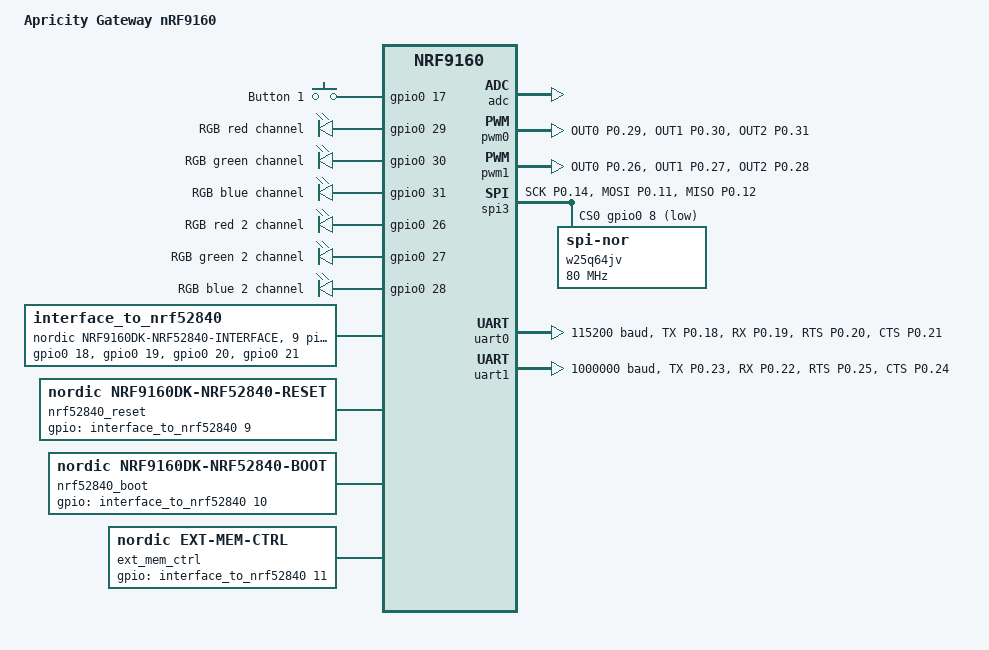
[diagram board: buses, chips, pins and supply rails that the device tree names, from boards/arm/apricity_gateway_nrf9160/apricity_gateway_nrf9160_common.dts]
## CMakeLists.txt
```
#
# Copyright (c) 2018 Nordic Semiconductor
#
# SPDX-License-Identifier: LicenseRef-Nordic-5-Clause
#

cmake_minimum_required(VERSION 3.13.1)

set(BOARD_ROOT ${CMAKE_CURRENT_LIST_DIR})

set(HW_VERSION_MAJOR "3")
set(HW_VERSION_MINOR "0")
set(FW_VERSION_MAJOR "1")
set(FW_VERSION_MINOR "6.0")

set(spm_CONF_FILE
    prj.conf
    ${CMAKE_CURRENT_SOURCE_DIR}/${BOARD}_spm.conf)

# enable ability to perform FOTA from NCS 1.2.0 gw to newer
# e.g., west build -p auto -b apricity_gateway_nrf9160ns -d build_dbg -- -DFOTA_OLD_GW=y
if(FOTA_OLD_GW)
				set(HW_VERSION_MAJOR "2")
				set(HW_VERSION_MINOR "0")
				set(PM_STATIC_YML_FILE
					${CMAKE_CURRENT_SOURCE_DIR}/old_gw_pm_static.yml
					)
				message("FOTA for old gw")
endif()

find_package(Zephyr REQUIRED HINTS $ENV{ZEPHYR_BASE})
project(lte-ble-gateway)
zephyr_compile_definitions(PROJECT_NAME=${PROJECT_NAME})
zephyr_compile_definitions(_POSIX_C_SOURCE=200809L)

# NORDIC SDK APP START
target_sources(app PRIVATE src/main.c)
# NORDIC SDK APP END
zephyr_include_directories(src)

# Include application events and configuration headers
zephyr_library_include_directories(
src/ui
src/watchdog
src/flash
src/dfu
src
)


find_package(Git QUIET REQUIRED)

execute_process(
    COMMAND "${GIT_EXECUTABLE}" describe --always HEAD
    WORKING_DIRECTORY "${CMAKE_SOURCE_DIR}"
    RESULT_VARIABLE res
    OUTPUT_VARIABLE MYAPP_VERSION
    ERROR_QUIET
    OUTPUT_STRIP_TRAILING_WHITESPACE)

set_property(GLOBAL APPEND
    PROPERTY CMAKE_CONFIGURE_DEPENDS
    "${CMAKE_SOURCE_DIR}/.git/index")

if ("${MYAPP_VERSION}" MATCHES "^.*-(.*)-g.*$")
    # if HEAD is tagged with a form of major.minor.patch this separates the items and uses them instead
    string(REGEX REPLACE "^([0-9]+)\\.([0-9]+)\\.([0-9]+).*$" "\\1;\\2;\\3" _ver_parts "${MYAPP_VERSION}")
    list(GET _ver_parts 0 FW_VERSION_MAJOR)
    list(GET _ver_parts 1 FW_VERSION_MINOR)
    list(GET _ver_parts 2 FW_VERSION_PATCH)
else ()
    set(FW_VERSION_PATCH ${MYAPP_VERSION})
endif ()

#
# utilize settings to autogenerate a header file to adjust the build inside the C code
#
configure_file (
   "src/config.h.in"
   "${PROJECT_SOURCE_DIR}/src/config.h"
   )

target_sources(app PRIVATE src/ble.c)
target_sources(app PRIVATE src/ble_codec.c)
target_sources(app PRIVATE src/ble_conn_mgr.c)
target_sources(app PRIVATE src/gateway.c)
target_sources_ifdef(CONFIG_SHELL app PRIVATE src/cli.c)
target_sources_ifdef(CONFIG_GATEWAY_BLE_FOTA app PRIVATE src/dfu/peripheral_dfu.c)

add_subdirectory(src/ui)
#add_subdirectory(src/dfu)
add_subdirectory_ifdef(CONFIG_WATCHDOG src/watchdog)
add_subdirectory(src/flash)
```

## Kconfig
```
#
# Copyright (c) 2018 Nordic Semiconductor ASA
#
# SPDX-License-Identifier: LicenseRef-Nordic-5-Clause
#

menu "nRF Cloud Gateway App"

rsource "src/ui/Kconfig"

config APPLICATION_WORKQUEUE_STACK_SIZE
	int "Application workqueue stack size"
	default 4096

config APPLICATION_WORKQUEUE_PRIORITY
	int "Application workqueue priority"
	default SYSTEM_WORKQUEUE_PRIORITY

menu "Device and modem"

config POWER_OPTIMIZATION_ENABLE
	bool "Enable power optimization"
	default y
	select LTE_EDRX_REQ

endmenu # Device

menu "Cloud"

config MQTT_KEEPALIVE
	int "Time after last transmission to send a ping to keep connection on"
	default 1200
	help
	  This should be set to the expected time between messages sent from
	  this device. Making it larger than the expected data period does not
	  conserve bandwidth, as the ping is only sent if nothing else
	  has been within the specified period. Shorter values can prevent hidden
	  NAT timeouts at the carrier, but also will interrupt GPS fix attempts
	  and slow down TTFF.

config CLOUD_BUTTON
	bool "Enable button sensor"
	default y

config CLOUD_BUTTON_INPUT
	int "Set button sensor button number"
	range 1 4 if BOARD_NRF9160_PCA10090NS
	range 1 1 if BOARD_NRF9160_PCA20035NS
	default 1

config CLOUD_CONNECT_RETRY_DELAY
	int "Cloud connection retry delay in seconds"
	default 480
	help
	  Time to wait before trying to connect to the cloud again if the
	  previous attempt failed (in seconds).

config CLOUD_CONNECT_COUNT_MAX
	int "Maximum number of cloud connection attempts"
	default 8

config CLOUD_WAIT_DURATION
	int "Cloud connection acknowledge wait duration"
	default 30
	help
	  How long the device should wait for a CONNACK
	  event from the cloud.

config CLOUD_FOTA_APP
	bool "Enable firmware over-the-air upgrades for application"
	depends on AWS_FOTA || NRF_CLOUD_FOTA
	depends on DFU_TARGET_MCUBOOT
	default y

config CLOUD_FOTA_MODEM
	bool "Enable firmware over-the-air upgrades for modem"
	depends on AWS_FOTA || NRF_CLOUD_FOTA
	depends on DFU_TARGET_MODEM_DELTA
	default y

config CLOUD_FOTA_BOOT
	bool "Enable firmware over-the-air upgrades for bootloader"
	depends on AWS_FOTA || NRF_CLOUD_FOTA
	depends on DFU_TARGET_MCUBOOT
	depends on SECURE_BOOT
	default y

config CLOUD_CONNECT_ERR_REBOOT_S
	int "Seconds to wait before rebooting when a cloud connect error occurs"
	default 300

endmenu # Cloud


choice
	prompt "GPS device"
	default GPS_USE_SIM
	help
	  Select from which device GPS data will be fetched.

config GPS_USE_SIM
	bool "Use GPS simulator"
	select GPS_SIM_TRIGGER
	help
	  Use simulated GPS data.

config GPS_USE_EXTERNAL
	bool "User provided GPS device"
	help
	  Provide a GPS device that location data will be fetched from and
	  sent to nRF Cloud

endchoice

if GPS_USE_SIM

config GPS_DEV_NAME
	string
	default GPS_SIM_DEV_NAME

config GPS_TRIGGER
	bool
	default GPS_SIM_TRIGGER

endif

if GPS_USE_EXTERNAL
config GPS_DEV_NAME
	string "GPS device name"
	help
	  GPS device from which location data will be fetched and sent
	  to nRF Cloud.

endif

choice
	prompt "nRF Cloud user association"
	default CLOUD_UA_BUTTONS
	help
	  Select which method to use for nRF Cloud user association
	  input.

config CLOUD_UA_BUTTONS
	bool "Use buttons and switches"
	help
	  Use buttons and switches on the development kit to provide
	  user association input.

config CLOUD_UA_CONSOLE
	bool "Use console input"
	help
	  Use console to enter nRF Cloud user association input.
	  Allowed input is as follows:
	  'b1' = Button 1
	  'b2' = Button 2
	  's1' = Switch 1
	  's2' = Switch 2

endchoice

config WATCHDOG_TIMEOUT_MSEC
	int "Watchdog timeout in milliseconds"
	default 10000

config FLASH_TEST
	bool "Enable Flash Test module"
	default n
	select NRFX_SPIM if FLASH_TEST
	select NRFX_SPIM3 if FLASH_TEST
	select SPI if FLASH_TEST
	select SPI_NOR if FLASH_TEST
	help
	  Enable to test Erase, Write, and Read of external flash.

config SPM_NRF_REGULATORS_NS
	bool "Regulators is Non-Secure"
	default y

config MODEM_WAKEUP_PIN
	int "modem wakeup pin"
	default 17
	help
	  Change the pin that wakes up the modem.

config ENTER_52840_MCUBOOT_VIA_BUTTON
	bool "Button enables 52840 MCUboot"
	depends on BOARD_APRICITY_GATEWAY_NRF9160 || BOARD_APRICITY_GATEWAY_NRF9160_NS
	help
	  Holding a button during and after startup will place the
	  nrf52840 into MCUboot mode so the firmware can be updated.

config SHELL_PROMPT_SECURE
	string "Displayed prompt name"
	default "uart:~# "
	help
	  Displayed prompt name for UART backend once user has logged in.

config SHELL_DEFAULT_PASSWORD
	string "Factory-set initial password"
	default "nordic"
	help
	  User needs to type this to enter the shell and execute
	  commands.

config GATEWAY_BLE_FOTA
	bool "Enable BLE FOTA support"
	default y
	help
	  Enable ability to receive FOTA jobs for specific BLE devices,
	  then inject data from one or more file downloads to a BLE
	  device that supports a compatible DFU protocol.

config GATEWAY_DBG_CMDS
	bool "Enable debugging commands"
	default y
	select CPU_LOAD
	select CPU_LOAD_CMDS
	select KERNEL_SHELL

config GATEWAY_SHELL
	bool "Enable shell for administering nRF Cloud gateway"
	default y
	select SHELL
	select SHELL_CMDS
	select SHELL_HISTORY
	select SHELL_METAKEYS
	select SHELL_LOG_BACKEND
	select SHELL_VT100_COLORS
	select SHELL_BACKEND_SERIAL
	select SHELL_CMDS_SELECT

config STARTING_LOG_OVERRIDE
	bool "Different logging level at boot"
	default n
	help
	  All configured logging will occur if disabled. Otherwise,
	  logging changed to STARTING_LOG_LEVEL until user logs in and
	  manually enables with 'log enable inf' (or whatever level is
	  desired).

choice
	prompt "Max compiled-in log level to boot with"
	default STARTING_LOG_LEVEL_INF
	depends on LOG

config STARTING_LOG_LEVEL_OFF
	bool "Off"

config STARTING_LOG_LEVEL_ERR
	bool "Error"

config STARTING_LOG_LEVEL_WRN
	bool "Warning"

config STARTING_LOG_LEVEL_INF
	bool "Info"

config STARTING_LOG_LEVEL_DBG
	bool "Debug"

endchoice

config STARTING_LOG_LEVEL
	int
	depends on LOG
	default 0 if STARTING_LOG_LEVEL_OFF
	default 1 if STARTING_LOG_LEVEL_ERR
	default 2 if STARTING_LOG_LEVEL_WRN
	default 3 if STARTING_LOG_LEVEL_INF
	default 4 if STARTING_LOG_LEVEL_DBG

endmenu

menu "Zephyr Kernel"
source "Kconfig.zephyr"
endmenu

module = NRF_CLOUD_GATEWAY
module-str = nRF Cloud Gateway
source "${ZEPHYR_BASE}/subsys/logging/Kconfig.template.log_config"
```

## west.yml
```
manifest:
  remotes:
    - name: nrfcloud
      url-base: https://github.com/nRFCloud
    - name: nordic
      url-base: https://github.com/nrfconnect
    - name: origin
      url-base: https://github.com/plskeggs
  projects:
    - name: sdk-nrf
      path: nrf
      remote: origin
      revision: Branch_ncs-2.7.0-feature-fix-ble-fota
      #remote: nordic
      #revision: pull/8960/head
      import: true
  self:
    path: lte-gateway
```

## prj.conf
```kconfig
#
# Copyright (c) 2024 Nordic Semiconductor ASA
#
# SPDX-License-Identifier: LicenseRef-Nordic-5-Clause
#
# General config
CONFIG_FW_INFO=y
CONFIG_FW_INFO_FIRMWARE_VERSION=1
CONFIG_NEWLIB_LIBC=y
CONFIG_NEWLIB_LIBC_FLOAT_PRINTF=y
CONFIG_ASSERT=y
CONFIG_REBOOT=y

# force GPS_SIM off to save 2KB of RAM:
CONFIG_GPS_USE_EXTERNAL=y
CONFIG_GPS_USE_SIM=n

CONFIG_LOG=y
CONFIG_LOG_SPEED=y
CONFIG_LOG_BUFFER_SIZE=12000
CONFIG_LOG_BACKEND_UART=y
CONFIG_LOG_MODE_IMMEDIATE=n
CONFIG_LOG_DEFAULT_LEVEL=3
CONFIG_LOG_FUNC_NAME_PREFIX_INF=y
CONFIG_LOG_FUNC_NAME_PREFIX_ERR=y
CONFIG_LOG_PRINTK=y
CONFIG_NET_LOG=n

CONFIG_NRF_CLOUD_GATEWAY_LOG_LEVEL_DBG=y

CONFIG_MEM_SLAB_TRACE_MAX_UTILIZATION=y
CONFIG_SYS_HEAP_RUNTIME_STATS=y

# Fatal error
CONFIG_RESET_ON_FATAL_ERROR=n
CONFIG_WATCHDOG=n

# Network
CONFIG_NETWORKING=y
CONFIG_NET_NATIVE=n
CONFIG_NET_SOCKETS=y
CONFIG_NET_SOCKETS_OFFLOAD=y

# LTE link control
CONFIG_POWER_OPTIMIZATION_ENABLE=n
CONFIG_LTE_LINK_CONTROL=y
CONFIG_LTE_NETWORK_MODE_LTE_M=y
CONFIG_LTE_NETWORK_MODE_LTE_M_GPS=n
CONFIG_LTE_LINK_CONTROL_LOG_LEVEL_WRN=y

# Modem info
CONFIG_MODEM_INFO=y
CONFIG_MODEM_INFO_ADD_SIM=y
CONFIG_POSIX_CLOCK=y

# Modem library
CONFIG_NRF_MODEM_LIB=y

# Don't resubscribe to topics if broker remembers them
CONFIG_MQTT_CLEAN_SESSION=y
CONFIG_MQTT_LOG_LEVEL_INF=n
CONFIG_NRF_CLOUD_MQTT=y
CONFIG_NRF_CLOUD_SEND_DEVICE_STATUS=y
CONFIG_NRF_CLOUD_SEND_DEVICE_STATUS_NETWORK=y
CONFIG_NRF_CLOUD_SEND_DEVICE_STATUS_SIM=y
CONFIG_NRF_CLOUD_SEND_DEVICE_STATUS_CONN_INF=y
CONFIG_NRF_CLOUD_SEND_SERVICE_INFO_FOTA=y
#CONFIG_NRF_CLOUD_SEND_SERVICE_INFO_UI=y
#CONFIG_NRF_CLOUD_ENABLE_SVC_INF_UI_RSRP=y

CONFIG_NRF_CLOUD_LOG_LEVEL_INF=y
CONFIG_NRF_CLOUD_CONNECTION_POLL_THREAD=y
# must be blocking send mode, or else large block fix in bsdlib is ineffective
CONFIG_NRF_CLOUD_SEND_NONBLOCKING=n
# use our nrf_socket.h workaround instead of bsdlib fix
# set maximum receivable payload size
CONFIG_NRF_CLOUD_MQTT_PAYLOAD_BUFFER_LEN=3072
# Needed for the cloud codec
CONFIG_CJSON_LIB=y
# Shorter to prevent NAT timeouts
CONFIG_MQTT_KEEPALIVE=120
CONFIG_CLOUD_CONNECT_RETRY_DELAY=10

# configure for secure device certificates and internal UUID; use
# alternate sectag until LTE Link Monitor supports this method
CONFIG_NRF_CLOUD_CLIENT_ID_SRC_INTERNAL_UUID=y
CONFIG_MODEM_JWT=y

# Library for buttons and LEDs
CONFIG_DK_LIBRARY=y

# Library that maintains the current date time UTC.
CONFIG_DATE_TIME=y
CONFIG_DATE_TIME_MODEM=n
CONFIG_DATE_TIME_NTP=y
CONFIG_DATE_TIME_LOG_LEVEL_WRN=y

# Console
CONFIG_CONSOLE_SUBSYS=n
CONFIG_CONSOLE_HANDLER=n
CONFIG_CONSOLE_GETCHAR=n

# Heap and stacks
CONFIG_HEAP_MEM_POOL_SIZE=20480
CONFIG_MAIN_STACK_SIZE=3072
CONFIG_SYSTEM_WORKQUEUE_STACK_SIZE=2048
CONFIG_APPLICATION_WORKQUEUE_STACK_SIZE=2048
CONFIG_NRF_CLOUD_CONNECTION_POLL_THREAD_STACK_SIZE=4096
CONFIG_HW_STACK_PROTECTION=y
CONFIG_EXTRA_EXCEPTION_INFO=y
CONFIG_AT_MONITOR_HEAP_SIZE=2048

# Settings
CONFIG_FLASH=y
CONFIG_FLASH_PAGE_LAYOUT=y
CONFIG_FLASH_MAP=y
CONFIG_FCB=y
CONFIG_SETTINGS=y
CONFIG_SETTINGS_FCB=y
CONFIG_MPU_ALLOW_FLASH_WRITE=y

# External Flash
CONFIG_SPI=n
CONFIG_SPI_NOR=n

# TFM
CONFIG_BUILD_WITH_TFM=y
CONFIG_TFM_LOG_LEVEL_SILENCE=y
#CONFIG_TFM_EXCEPTION_INFO_DUMP=y
#CONFIG_TFM_CMAKE_BUILD_TYPE_DEBUG=y
CONFIG_TFM_HALT_ON_CORE_PANIC=n
#CONFIG_TFM_SECURE_UART_SHARE_INSTANCE=y
#CONFIG_TFM_SECURE_UART0=y
CONFIG_TFM_HW_INIT_RESET_ON_BOOT=y
CONFIG_TFM_HW_INIT_NRF_PERIPHERALS=y

# MCUBOOT
CONFIG_BOOTLOADER_MCUBOOT=y
CONFIG_IMG_MANAGER=y
CONFIG_MCUBOOT_IMG_MANAGER=y
CONFIG_IMG_ERASE_PROGRESSIVELY=y
CONFIG_STREAM_FLASH=y

# not enough flash to enable these currently:
#CONFIG_SECURE_BOOT=y
#CONFIG_BUILD_S1_VARIANT=y
#CONFIG_SPM_SERVICE_S0_ACTIVE=y

# nRFCloud FOTA
CONFIG_DOWNLOAD_CLIENT_LOG_LEVEL_WRN=y
CONFIG_DOWNLOAD_CLIENT_LOG_HEADERS=n
CONFIG_DOWNLOAD_CLIENT_STACK_SIZE=3072
CONFIG_DOWNLOAD_CLIENT_HTTP_FRAG_SIZE_1024=y
CONFIG_FOTA_DOWNLOAD_LOG_LEVEL_WRN=y
CONFIG_NRF_CLOUD_FOTA_LOG_LEVEL_WRN=y

#CONFIG_NRF_CLOUD_FOTA_BLE_DEVICES=y
CONFIG_GATEWAY_BLE_FOTA=n
CONFIG_DFU_TARGET_MCUBOOT_SAVE_PROGRESS=y

# Enable Bluetooth stack and libraries
CONFIG_BT=y
CONFIG_BT_H4=y
CONFIG_BT_WAIT_NOP=y
CONFIG_BT_CENTRAL=y
CONFIG_BT_GATT_CLIENT=y
CONFIG_BT_GATT_DM=y
CONFIG_BT_SCAN=y
CONFIG_BT_SCAN_FILTER_ENABLE=n
CONFIG_BT_SCAN_NAME_CNT=0
CONFIG_BT_MAX_CONN=16
CONFIG_BT_GATT_DM_MAX_ATTRS=100
CONFIG_BT_FILTER_ACCEPT_LIST=y
CONFIG_BT_SETTINGS=n
CONFIG_BT_EXT_ADV=y
#CONFIG_BT_HCI_VS_EXT=y
CONFIG_BT_HCI_VS=y
CONFIG_BT_REMOTE_VERSION=y

CONFIG_BT_DEBUG_LOG=n
#CONFIG_BT_DEBUG_CONN=n
#CONFIG_BT_DEBUG_GATT=n
#CONFIG_BT_DEBUG_HCI_CORE=n
#CONFIG_BT_DEBUG_HCI_DRIVER=n
CONFIG_BT_LOG_LEVEL_WRN=y

CONFIG_BT_HCI_TX_STACK_SIZE=2048
CONFIG_BT_HCI_TX_STACK_SIZE_WITH_PROMPT=y
CONFIG_BT_RX_STACK_SIZE=2048

# Gateway
CONFIG_NRF_CLOUD_GATEWAY=y
CONFIG_FLASH_TEST=n

# for customer builds, set below to n
CONFIG_GATEWAY_DBG_CMDS=y

# to enable AT command handling unfettered by the shell, turn the below
# option on, and CONFIG_GATEWAY_SHELL off (ignore warnings about the symbols
# in the block below that, or comment them out)
CONFIG_AT_HOST_LIBRARY=n
CONFIG_GATEWAY_SHELL=y

# set various buffer sizes in shell
CONFIG_SHELL_STACK_SIZE=6144
CONFIG_SHELL_CMD_BUFF_SIZE=3072
CONFIG_SHELL_PRINTF_BUFF_SIZE=4096
CONFIG_SHELL_BACKEND_SERIAL_API_INTERRUPT_DRIVEN=y
CONFIG_SHELL_BACKEND_SERIAL_RX_RING_BUFFER_SIZE=3072
CONFIG_SHELL_PROMPT_UART="login: "
CONFIG_SHELL_START_OBSCURED=n
CONFIG_SHELL_PROMPT_SECURE="gateway:# "

# turn on for low level BLE commands
CONFIG_BT_SHELL=n

# force these off -- they default on
CONFIG_LOG_CMDS=n
CONFIG_PWM_SHELL=n
CONFIG_BOOT_BANNER=n
CONFIG_FLASH_SHELL=n
CONFIG_DEVICE_SHELL=n
CONFIG_DEVMEM_SHELL=n
#CONFIG_SHELL_CMDS=n
CONFIG_SHELL_WILDCARD=n
CONFIG_SHELL_CMDS_RESIZE=y
CONFIG_CLOCK_CONTROL_NRF_SHELL=n

CONFIG_DEBUG_COREDUMP=y
CONFIG_DEBUG_COREDUMP_BACKEND_LOGGING=y
CONFIG_DEBUG_COREDUMP_MEMORY_DUMP_MIN=y

# change logging level when at login prompt
CONFIG_STARTING_LOG_OVERRIDE=n
CONFIG_STARTING_LOG_LEVEL_INF=y

CONFIG_ENTROPY_DEVICE_RANDOM_GENERATOR=y
```

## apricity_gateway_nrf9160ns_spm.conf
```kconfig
#
# Copyright (c) 2019 Nordic Semiconductor ASA
#
# SPDX-License-Identifier: LicenseRef-BSD-5-Clause-Nordic
#
# Set UARTE1 as non-secure, used for HCI
#CONFIG_SPM_NRF_UARTE1_NS=y

# Configuration copied from the nRF Secure Partition Manager (SPM) sample:
CONFIG_IS_SPM=y
CONFIG_FW_INFO=y
CONFIG_GPIO=n

# Make watchdog timers non-secure (so they can be used in the non-secure image).
#CONFIG_SPM_NRF_WDT_NS=y
```

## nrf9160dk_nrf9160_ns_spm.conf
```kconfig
#
# Copyright (c) 2019 Nordic Semiconductor ASA
#
# SPDX-License-Identifier: LicenseRef-BSD-5-Clause-Nordic
#
# Set UARTE2 as non-secure, used for HCI
#CONFIG_SPM_NRF_UARTE2_NS=y

# Configuration copied from the nRF Secure Partition Manager (SPM) sample:
CONFIG_IS_SPM=y
CONFIG_FW_INFO=y
CONFIG_GPIO=n

# Make watchdog timers non-secure (so they can be used in the non-secure image).
#CONFIG_SPM_NRF_WDT_NS=y
```

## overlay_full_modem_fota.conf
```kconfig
# Copyright (c) 2021 Nordic Semiconductor ASA
#
# SPDX-License-Identifier: LicenseRef-Nordic-5-Clause
#

# Full Modem FOTA
CONFIG_NRF_CLOUD_FOTA_FULL_MODEM_UPDATE=y
CONFIG_NRF_MODEM_LIB_SYS_INIT=n
CONFIG_SPI=y
CONFIG_SPI_NOR=y
```

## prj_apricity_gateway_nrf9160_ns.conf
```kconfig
#
# Copyright (c) 2019 Nordic Semiconductor ASA
#
# SPDX-License-Identifier: LicenseRef-Nordic-5-Clause
#
# General config
CONFIG_FW_INFO_FIRMWARE_VERSION=3
CONFIG_NEWLIB_LIBC=y
CONFIG_NEWLIB_LIBC_FLOAT_PRINTF=y
CONFIG_ASSERT=y
CONFIG_REBOOT=y
CONFIG_FW_INFO=y

# force GPS_SIM off to save 2KB of RAM:
CONFIG_GPS_USE_EXTERNAL=y
CONFIG_GPS_USE_SIM=n

CONFIG_LOG=y
CONFIG_LOG_SPEED=y
CONFIG_LOG_BUFFER_SIZE=2000
CONFIG_LOG_MODE_IMMEDIATE=n
CONFIG_LOG_DEFAULT_LEVEL=3
CONFIG_NRF_CLOUD_GATEWAY_LOG_LEVEL_DBG=y
CONFIG_LOG_FUNC_NAME_PREFIX_INF=y
CONFIG_LOG_FUNC_NAME_PREFIX_ERR=y
CONFIG_LOG_PRINTK=y
CONFIG_NET_LOG=n
CONFIG_MQTT_LOG_LEVEL_INF=n

CONFIG_MEM_SLAB_TRACE_MAX_UTILIZATION=y
CONFIG_SYS_HEAP_RUNTIME_STATS=y

# Fatal error
CONFIG_RESET_ON_FATAL_ERROR=n
CONFIG_WATCHDOG=n

# Network
CONFIG_NETWORKING=y
CONFIG_NET_NATIVE=n
CONFIG_NET_SOCKETS=y
CONFIG_NET_SOCKETS_OFFLOAD=y

# LTE link control
CONFIG_POWER_OPTIMIZATION_ENABLE=y
CONFIG_LTE_LINK_CONTROL=y
CONFIG_LTE_NETWORK_MODE_LTE_M=y
CONFIG_LTE_NETWORK_MODE_LTE_M_GPS=n
CONFIG_LTE_MODE_PREFERENCE_LTE_M=y
CONFIG_LTE_AUTO_INIT_AND_CONNECT=n
CONFIG_LTE_LINK_CONTROL_LOG_LEVEL_WRN=y

# Modem info
CONFIG_MODEM_INFO=y
CONFIG_POSIX_CLOCK=y

# Modem library
CONFIG_NRF_MODEM_LIB=y
#CONFIG_NRF_MODEM_LIB_TRACE_ENABLED=n

# Don't resubscribe to topics if broker remembers them
CONFIG_MQTT_CLEAN_SESSION=y
CONFIG_NRF_CLOUD_MQTT=y
CONFIG_NRF_CLOUD_LOG_LEVEL_INF=y
CONFIG_NRF_CLOUD_CONNECTION_POLL_THREAD=y
# must be blocking send mode, or else large block fix in bsdlib is ineffective
CONFIG_NRF_CLOUD_SEND_NONBLOCKING=n
# use our nrf_socket.h workaround instead of bsdlib fix
# set maximum receivable payload size
CONFIG_NRF_CLOUD_MQTT_PAYLOAD_BUFFER_LEN=3072
# Needed for the cloud codec
CONFIG_CJSON_LIB=y
# Shorter to prevent NAT timeouts
CONFIG_MQTT_KEEPALIVE=120
CONFIG_CLOUD_CONNECT_RETRY_DELAY=10

# configure for secure device certificates and internal UUID; use
# alternate sectag until LTE Link Monitor supports this method
CONFIG_NRF_CLOUD_CLIENT_ID_SRC_INTERNAL_UUID=y
CONFIG_MODEM_JWT=y
#CONFIG_NRF_CLOUD_SEC_TAG=42

# Library for buttons and LEDs
CONFIG_DK_LIBRARY=y
#CONFIG_DK_LIBRARY_INVERT_LEDS=n

# Library that maintains the current date time UTC.
CONFIG_DATE_TIME=y
CONFIG_DATE_TIME_MODEM=n
CONFIG_DATE_TIME_NTP=y
CONFIG_DATE_TIME_LOG_LEVEL_INF=y

# Console
CONFIG_CONSOLE_SUBSYS=n
CONFIG_CONSOLE_HANDLER=n
CONFIG_CONSOLE_GETCHAR=n

# Heap and stacks
CONFIG_HEAP_MEM_POOL_SIZE=20480
CONFIG_MAIN_STACK_SIZE=3072
CONFIG_SYSTEM_WORKQUEUE_STACK_SIZE=2048
CONFIG_APPLICATION_WORKQUEUE_STACK_SIZE=2048
CONFIG_NRF_CLOUD_CONNECTION_POLL_THREAD_STACK_SIZE=4096
CONFIG_HW_STACK_PROTECTION=y
CONFIG_EXTRA_EXCEPTION_INFO=y
CONFIG_AT_MONITOR_HEAP_SIZE=2048

# Settings
CONFIG_FLASH=y
CONFIG_FLASH_PAGE_LAYOUT=y
CONFIG_FLASH_MAP=y
CONFIG_FCB=y
CONFIG_SETTINGS=y
CONFIG_SETTINGS_FCB=y
CONFIG_MPU_ALLOW_FLASH_WRITE=y

CONFIG_SPI=y
CONFIG_SPI_NOR=y
CONFIG_BUILD_WITH_TFM=y
CONFIG_TFM_LOG_LEVEL_SILENCE=n
CONFIG_TFM_EXCEPTION_INFO_DUMP=y
CONFIG_TFM_CMAKE_BUILD_TYPE_DEBUG=y
CONFIG_TFM_HALT_ON_CORE_PANIC=y
CONFIG_TFM_SECURE_UART_SHARE_INSTANCE=y
CONFIG_TFM_SECURE_UART0=y
#CONFIG_TFM_HW_INIT_RESET_ON_BOOT=y
#CONFIG_TFM_HW_INIT_NRF_PERIPHERALS=y

# MCUBOOT
CONFIG_BOOTLOADER_MCUBOOT=y
CONFIG_IMG_MANAGER=y
CONFIG_MCUBOOT_IMG_MANAGER=y
CONFIG_IMG_ERASE_PROGRESSIVELY=y
CONFIG_STREAM_FLASH=y
CONFIG_ENTER_52840_MCUBOOT_VIA_BUTTON=y

# not enough flash to enable these currently:
#CONFIG_SECURE_BOOT=y
#CONFIG_BUILD_S1_VARIANT=y
#CONFIG_SPM_SERVICE_S0_ACTIVE=y

# nRFCloud FOTA
CONFIG_DOWNLOAD_CLIENT_LOG_LEVEL_WRN=y
CONFIG_DOWNLOAD_CLIENT_LOG_HEADERS=n
CONFIG_FOTA_DOWNLOAD_LOG_LEVEL_WRN=y
CONFIG_NRF_CLOUD_FOTA_LOG_LEVEL_INF=y

CONFIG_DOWNLOAD_CLIENT_STACK_SIZE=3072
CONFIG_NRF_CLOUD_FOTA_BLE_DEVICES=y
CONFIG_DOWNLOAD_CLIENT_HTTP_FRAG_SIZE_1024=y
CONFIG_GATEWAY_BLE_FOTA=n
CONFIG_DFU_TARGET_MCUBOOT_SAVE_PROGRESS=y

# Enable Bluetooth stack and libraries
CONFIG_BT=y
CONFIG_BT_H4=y
CONFIG_BT_WAIT_NOP=y
CONFIG_BT_CENTRAL=y
CONFIG_BT_GATT_CLIENT=y
CONFIG_BT_GATT_DM=y
CONFIG_BT_SCAN=y
CONFIG_BT_SCAN_FILTER_ENABLE=n
CONFIG_BT_SCAN_NAME_CNT=0
CONFIG_BT_MAX_CONN=16
CONFIG_BT_GATT_DM_MAX_ATTRS=100
CONFIG_BT_FILTER_ACCEPT_LIST=y
CONFIG_BT_SETTINGS=n
CONFIG_BT_EXT_ADV=n
CONFIG_BT_HCI_VS_EXT=n
CONFIG_BT_HCI_VS=n

CONFIG_BT_DEBUG_LOG=n
CONFIG_BT_DEBUG_CONN=n
CONFIG_BT_DEBUG_GATT=n
CONFIG_BT_DEBUG_HCI_CORE=n
CONFIG_BT_DEBUG_HCI_DRIVER=n
CONFIG_BT_LOG_LEVEL_WRN=y

CONFIG_BT_HCI_TX_STACK_SIZE=2048
CONFIG_BT_HCI_TX_STACK_SIZE_WITH_PROMPT=y
CONFIG_BT_RX_STACK_SIZE=2048

CONFIG_UART_INTERRUPT_DRIVEN=y
CONFIG_UART_LINE_CTRL=y

CONFIG_NRF_CLOUD_GATEWAY=y
CONFIG_FLASH_TEST=n

# for customer builds, set below to n
CONFIG_GATEWAY_DBG_CMDS=y

# to enable AT command handling unfettered by the shell, turn the below
# option on, and CONFIG_GATEWAY_SHELL off (ignore warnings about the symbols
# in the block below that, or comment them out)
CONFIG_AT_HOST_LIBRARY=n
CONFIG_GATEWAY_SHELL=y

# set various buffer sizes in shell
CONFIG_SHELL_STACK_SIZE=6144
CONFIG_SHELL_CMD_BUFF_SIZE=3072
CONFIG_SHELL_PRINTF_BUFF_SIZE=3072
CONFIG_SHELL_BACKEND_SERIAL_RX_RING_BUFFER_SIZE=3072
CONFIG_SHELL_PROMPT_UART="login: "
CONFIG_SHELL_START_OBSCURED=y
CONFIG_SHELL_PROMPT_SECURE="gateway:# "

# turn on for low level BLE commands
CONFIG_BT_SHELL=n

# force these off -- they default on
CONFIG_PWM_SHELL=n
CONFIG_BOOT_BANNER=n
CONFIG_FLASH_SHELL=n
CONFIG_DEVICE_SHELL=n
CONFIG_SHELL_WILDCARD=n
CONFIG_SHELL_CMDS_RESIZE=y
CONFIG_CLOCK_CONTROL_NRF_SHELL=n

CONFIG_DEBUG_COREDUMP=y
CONFIG_DEBUG_COREDUMP_BACKEND_LOGGING=y
CONFIG_DEBUG_COREDUMP_MEMORY_DUMP_MIN=y

# change logging level when at login prompt
CONFIG_STARTING_LOG_OVERRIDE=y
CONFIG_STARTING_LOG_LEVEL_WRN=y

CONFIG_ENTROPY_DEVICE_RANDOM_GENERATOR=y
```

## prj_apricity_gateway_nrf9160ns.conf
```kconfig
#
# Copyright (c) 2019 Nordic Semiconductor ASA
#
# SPDX-License-Identifier: LicenseRef-Nordic-5-Clause
#
# General config
CONFIG_FW_INFO_FIRMWARE_VERSION=3
CONFIG_NEWLIB_LIBC=y
CONFIG_NEWLIB_LIBC_FLOAT_PRINTF=y
CONFIG_ASSERT=y
CONFIG_FW_INFO=y

# force GPS_SIM off to save 2KB of RAM:
CONFIG_GPS_USE_EXTERNAL=y
CONFIG_GPS_USE_SIM=n

CONFIG_LOG=y
CONFIG_LOG_SPEED=y
CONFIG_LOG_BUFFER_SIZE=2000
CONFIG_LOG_MODE_IMMEDIATE=n
CONFIG_LOG_DEFAULT_LEVEL=3
CONFIG_NRF_CLOUD_GATEWAY_LOG_LEVEL_DBG=y
CONFIG_LOG_FUNC_NAME_PREFIX_INF=y
CONFIG_LOG_FUNC_NAME_PREFIX_ERR=y
CONFIG_LOG_PRINTK=y
CONFIG_NET_LOG=y
CONFIG_MQTT_LOG_LEVEL_DBG=y

CONFIG_MEM_SLAB_TRACE_MAX_UTILIZATION=y
CONFIG_SYS_HEAP_RUNTIME_STATS=y

# Fatal error
CONFIG_RESET_ON_FATAL_ERROR=n
CONFIG_WATCHDOG=n

# Network
CONFIG_NETWORKING=y
CONFIG_NET_NATIVE=n
CONFIG_NET_SOCKETS=y
CONFIG_NET_SOCKETS_OFFLOAD=y

# LTE link control
CONFIG_POWER_OPTIMIZATION_ENABLE=n
CONFIG_LTE_LINK_CONTROL=y
CONFIG_LTE_NETWORK_MODE_LTE_M_GPS=n
CONFIG_LTE_AUTO_INIT_AND_CONNECT=n
CONFIG_LTE_LINK_CONTROL_LOG_LEVEL_DBG=y

CONFIG_LTE_NETWORK_MODE_NBIOT=n
CONFIG_LTE_PSM_REQ_RPTAU="00000110"
CONFIG_LTE_PSM_REQ_RAT="00000010"

CONFIG_LTE_LOCK_BANDS=y
# Enable band 2, 3, 4, 8, 12, 13 ,20 and 28
CONFIG_LTE_LOCK_BAND_MASK="1000000010000001100010001110"

# Modem info
CONFIG_MODEM_INFO=n
#CONFIG_MODEM_INFO_ADD_DATE_TIME=n
#CONFIG_MODEM_INFO_ADD_SIM_ICCID=y
CONFIG_POSIX_CLOCK=y

# Modem library
CONFIG_NRF_MODEM_LIB=y
CONFIG_NRF_MODEM_LIB_TRACE_ENABLED=n

# Don't resubscribe to topics if broker remembers them
CONFIG_MQTT_CLEAN_SESSION=n
CONFIG_NRF_CLOUD_MQTT=y
CONFIG_NRF_CLOUD_LOG_LEVEL_DBG=y
CONFIG_NRF_CLOUD_CONNECTION_POLL_THREAD=y
# must be blocking send mode, or else large block fix in bsdlib is ineffective
CONFIG_NRF_CLOUD_SEND_NONBLOCKING=n
# use our nrf_socket.h workaround instead of bsdlib fix
# set maximum receivable payload size
CONFIG_NRF_CLOUD_MQTT_PAYLOAD_BUFFER_LEN=2048
# Needed for the cloud codec
CONFIG_CJSON_LIB=y
# Shorter to prevent NAT timeouts
CONFIG_MQTT_KEEPALIVE=120
CONFIG_CLOUD_CONNECT_RETRY_DELAY=10

# configure for secure device certificates and internal UUID; use
# alternate sectag until LTE Link Monitor supports this method
#CONFIG_NRF_CLOUD_CLIENT_ID_SRC_INTERNAL_UUID=y
CONFIG_NRF_CLOUD_CLIENT_ID_SRC_RUNTIME=y
CONFIG_MODEM_JWT=y
#CONFIG_NRF_CLOUD_SEC_TAG=42
CONFIG_NRF_CLOUD_SEC_TAG=50

# Library for buttons and LEDs
CONFIG_DK_LIBRARY=y
#CONFIG_DK_LIBRARY_INVERT_LEDS=n

# Library that maintains the current date time UTC.
CONFIG_DATE_TIME=y
CONFIG_DATE_TIME_MODEM=n
CONFIG_DATE_TIME_NTP=y
CONFIG_DATE_TIME_LOG_LEVEL_DBG=y

# Console
CONFIG_CONSOLE_SUBSYS=n
CONFIG_CONSOLE_HANDLER=n
CONFIG_CONSOLE_GETCHAR=n

# Heap and stacks
CONFIG_HEAP_MEM_POOL_SIZE=20480
CONFIG_MAIN_STACK_SIZE=3072
CONFIG_SYSTEM_WORKQUEUE_STACK_SIZE=3072
CONFIG_APPLICATION_WORKQUEUE_STACK_SIZE=2048
CONFIG_HW_STACK_PROTECTION=y
CONFIG_EXTRA_EXCEPTION_INFO=y

# Settings
CONFIG_FLASH=y
CONFIG_FLASH_PAGE_LAYOUT=y
CONFIG_FLASH_MAP=y
CONFIG_FCB=y
CONFIG_SETTINGS=y
CONFIG_SETTINGS_FCB=y
CONFIG_MPU_ALLOW_FLASH_WRITE=y

CONFIG_SPI=y
CONFIG_SPI_NOR=y
CONFIG_BUILD_WITH_TFM=y
CONFIG_TFM_LOG_LEVEL_SILENCE=n
# CONFIG_TFM_EXCEPTION_INFO_DUMP=y
# CONFIG_TFM_CMAKE_BUILD_TYPE_DEBUG=y
# CONFIG_TFM_HALT_ON_CORE_PANIC=y
# CONFIG_TFM_PARTITION_LOG_LEVEL_DEBUG=y
#CONFIG_TFM_PROFILE_TYPE_MEDIUM=y
#CONFIG_TFM_SPM_LOG_LEVEL_DEBUG=y
CONFIG_TFM_LOG_SHARE_UART=y

# MCUBOOT
CONFIG_BOOTLOADER_MCUBOOT=y
CONFIG_IMG_MANAGER=y
CONFIG_MCUBOOT_IMG_MANAGER=y
CONFIG_IMG_ERASE_PROGRESSIVELY=y

# not enough flash to enable these currently:
#CONFIG_SECURE_BOOT=y
#CONFIG_BUILD_S1_VARIANT=y
#CONFIG_SPM_SERVICE_S0_ACTIVE=y

# nRFCloud FOTA
CONFIG_DOWNLOAD_CLIENT_STACK_SIZE=3072
CONFIG_NRF_CLOUD_FOTA_BLE_DEVICES=y
CONFIG_DOWNLOAD_CLIENT_LOG_LEVEL_INF=y
CONFIG_DOWNLOAD_CLIENT_LOG_HEADERS=n
CONFIG_FOTA_DOWNLOAD_LOG_LEVEL_INF=y
CONFIG_NRF_CLOUD_FOTA_LOG_LEVEL_INF=y
CONFIG_DOWNLOAD_CLIENT_HTTP_FRAG_SIZE_1024=y
CONFIG_GATEWAY_BLE_FOTA=y
CONFIG_DFU_TARGET_MCUBOOT_SAVE_PROGRESS=y

# Enable Bluetooth stack and libraries
CONFIG_BT=y
CONFIG_BT_H4=y
CONFIG_BT_WAIT_NOP=y
CONFIG_BT_CENTRAL=y
CONFIG_BT_GATT_CLIENT=y
CONFIG_BT_GATT_DM=y
CONFIG_BT_SCAN=y
CONFIG_BT_SCAN_FILTER_ENABLE=n
CONFIG_BT_SCAN_NAME_CNT=0
CONFIG_BT_MAX_CONN=16
CONFIG_BT_GATT_DM_MAX_ATTRS=100
CONFIG_BT_FILTER_ACCEPT_LIST=y
CONFIG_BT_SETTINGS=n
CONFIG_BT_EXT_ADV=n
CONFIG_BT_HCI_VS_EXT=n
CONFIG_BT_HCI_VS=n

CONFIG_BT_DEBUG_LOG=n
CONFIG_BT_DEBUG_CONN=n
CONFIG_BT_DEBUG_GATT=n
CONFIG_BT_DEBUG_HCI_CORE=n
CONFIG_BT_DEBUG_HCI_DRIVER=n
CONFIG_BT_LOG_LEVEL_WRN=y

CONFIG_BT_HCI_TX_STACK_SIZE=2048
CONFIG_BT_HCI_TX_STACK_SIZE_WITH_PROMPT=y
CONFIG_BT_RX_STACK_SIZE=2048

CONFIG_UART_INTERRUPT_DRIVEN=y
CONFIG_UART_LINE_CTRL=y

CONFIG_NRF_CLOUD_GATEWAY=y
CONFIG_FLASH_TEST=n

# for customer builds, set below to n
CONFIG_GATEWAY_DBG_CMDS=y

# to enable AT command handling unfettered by the shell, turn the below
# option on, and CONFIG_GATEWAY_SHELL off (ignore warnings about the symbols
# in the block below that, or comment them out)
CONFIG_AT_HOST_LIBRARY=n
CONFIG_GATEWAY_SHELL=y

# set various buffer sizes in shell
CONFIG_SHELL_STACK_SIZE=4096
CONFIG_SHELL_CMD_BUFF_SIZE=3072
CONFIG_SHELL_PRINTF_BUFF_SIZE=3072
CONFIG_SHELL_BACKEND_SERIAL_RX_RING_BUFFER_SIZE=3072
CONFIG_SHELL_PROMPT_UART="login: "
CONFIG_SHELL_START_OBSCURED=y
CONFIG_SHELL_PROMPT_SECURE="gateway:# "

# turn on for low level BLE commands
CONFIG_BT_SHELL=n

# force these off -- they default on
CONFIG_PWM_SHELL=n
CONFIG_BOOT_BANNER=n
CONFIG_FLASH_SHELL=n
CONFIG_DEVICE_SHELL=n
CONFIG_SHELL_WILDCARD=n
CONFIG_SHELL_CMDS_RESIZE=y
CONFIG_CLOCK_CONTROL_NRF_SHELL=n

CONFIG_DEBUG_COREDUMP=y
CONFIG_DEBUG_COREDUMP_BACKEND_LOGGING=y
CONFIG_DEBUG_COREDUMP_MEMORY_DUMP_MIN=n

# change logging level when at login prompt
CONFIG_STARTING_LOG_OVERRIDE=y
CONFIG_STARTING_LOG_LEVEL_ERR=y

CONFIG_ENTROPY_DEVICE_RANDOM_GENERATOR=y
```

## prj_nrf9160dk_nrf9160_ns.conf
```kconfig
#
# Copyright (c) 2019 Nordic Semiconductor ASA
#
# SPDX-License-Identifier: LicenseRef-Nordic-5-Clause
#
# General config
CONFIG_FW_INFO_FIRMWARE_VERSION=3
CONFIG_NEWLIB_LIBC=y
CONFIG_NEWLIB_LIBC_FLOAT_PRINTF=y
CONFIG_ASSERT=y
CONFIG_REBOOT=y
CONFIG_FW_INFO=y

# force GPS_SIM off to save 2KB of RAM:
CONFIG_GPS_USE_EXTERNAL=y
CONFIG_GPS_USE_SIM=n

CONFIG_LOG=y
CONFIG_LOG_SPEED=y
CONFIG_LOG_BUFFER_SIZE=2000
CONFIG_LOG_MODE_IMMEDIATE=n
CONFIG_LOG_DEFAULT_LEVEL=3
CONFIG_NRF_CLOUD_GATEWAY_LOG_LEVEL_DBG=y
CONFIG_LOG_FUNC_NAME_PREFIX_INF=y
CONFIG_LOG_FUNC_NAME_PREFIX_ERR=y
CONFIG_LOG_PRINTK=y
CONFIG_NET_LOG=n
CONFIG_MQTT_LOG_LEVEL_INF=n

CONFIG_MEM_SLAB_TRACE_MAX_UTILIZATION=y
CONFIG_SYS_HEAP_RUNTIME_STATS=y

# Fatal error
CONFIG_RESET_ON_FATAL_ERROR=n
CONFIG_WATCHDOG=n

# Network
CONFIG_NETWORKING=y
CONFIG_NET_NATIVE=n
CONFIG_NET_SOCKETS=y
CONFIG_NET_SOCKETS_OFFLOAD=y

# LTE link control
CONFIG_POWER_OPTIMIZATION_ENABLE=y
CONFIG_LTE_LINK_CONTROL=y
CONFIG_LTE_NETWORK_MODE_LTE_M=y
CONFIG_LTE_NETWORK_MODE_LTE_M_GPS=n
CONFIG_LTE_MODE_PREFERENCE_LTE_M=y
CONFIG_LTE_AUTO_INIT_AND_CONNECT=n
CONFIG_LTE_LINK_CONTROL_LOG_LEVEL_WRN=y

# Modem info
CONFIG_MODEM_INFO=y
CONFIG_POSIX_CLOCK=y

# Modem library
CONFIG_NRF_MODEM_LIB=y
#CONFIG_NRF_MODEM_LIB_TRACE_ENABLED=n

# Don't resubscribe to topics if broker remembers them
CONFIG_MQTT_CLEAN_SESSION=y
CONFIG_NRF_CLOUD_MQTT=y
CONFIG_NRF_CLOUD_LOG_LEVEL_INF=y
CONFIG_NRF_CLOUD_CONNECTION_POLL_THREAD=y
# must be blocking send mode, or else large block fix in bsdlib is ineffective
CONFIG_NRF_CLOUD_SEND_NONBLOCKING=n
# use our nrf_socket.h workaround instead of bsdlib fix
# set maximum receivable payload size
CONFIG_NRF_CLOUD_MQTT_PAYLOAD_BUFFER_LEN=3072
# Needed for the cloud codec
CONFIG_CJSON_LIB=y
# Shorter to prevent NAT timeouts
CONFIG_MQTT_KEEPALIVE=120
CONFIG_CLOUD_CONNECT_RETRY_DELAY=10

# configure for secure device certificates and internal UUID; use
# alternate sectag until LTE Link Monitor supports this method
CONFIG_NRF_CLOUD_CLIENT_ID_SRC_INTERNAL_UUID=y
CONFIG_MODEM_JWT=y
CONFIG_NRF_CLOUD_SEC_TAG=44

# Library for buttons and LEDs
CONFIG_DK_LIBRARY=y
#CONFIG_DK_LIBRARY_INVERT_LEDS=n

# Library that maintains the current date time UTC.
CONFIG_DATE_TIME=y
CONFIG_DATE_TIME_MODEM=n
CONFIG_DATE_TIME_NTP=y
CONFIG_DATE_TIME_LOG_LEVEL_INF=y

# Console
CONFIG_CONSOLE_SUBSYS=n
CONFIG_CONSOLE_HANDLER=n
CONFIG_CONSOLE_GETCHAR=n

# Heap and stacks
CONFIG_HEAP_MEM_POOL_SIZE=20480
CONFIG_MAIN_STACK_SIZE=3072
CONFIG_SYSTEM_WORKQUEUE_STACK_SIZE=2048
CONFIG_APPLICATION_WORKQUEUE_STACK_SIZE=2048
CONFIG_NRF_CLOUD_CONNECTION_POLL_THREAD_STACK_SIZE=4096
CONFIG_HW_STACK_PROTECTION=y
CONFIG_EXTRA_EXCEPTION_INFO=y
CONFIG_AT_MONITOR_HEAP_SIZE=2048

# Settings
CONFIG_FLASH=y
CONFIG_FLASH_PAGE_LAYOUT=y
CONFIG_FLASH_MAP=y
CONFIG_FCB=y
CONFIG_SETTINGS=y
CONFIG_SETTINGS_FCB=y
CONFIG_MPU_ALLOW_FLASH_WRITE=y

CONFIG_SPI=y
CONFIG_SPI_NOR=y
CONFIG_BUILD_WITH_TFM=y
CONFIG_TFM_LOG_LEVEL_SILENCE=n
CONFIG_TFM_EXCEPTION_INFO_DUMP=y
CONFIG_TFM_CMAKE_BUILD_TYPE_DEBUG=y
CONFIG_TFM_HALT_ON_CORE_PANIC=y
CONFIG_TFM_SECURE_UART_SHARE_INSTANCE=y
CONFIG_TFM_SECURE_UART0=y
#CONFIG_TFM_HW_INIT_RESET_ON_BOOT=y
#CONFIG_TFM_HW_INIT_NRF_PERIPHERALS=y

# MCUBOOT
CONFIG_BOOTLOADER_MCUBOOT=y
CONFIG_IMG_MANAGER=y
CONFIG_MCUBOOT_IMG_MANAGER=y
CONFIG_IMG_ERASE_PROGRESSIVELY=y
CONFIG_STREAM_FLASH=y

# not enough flash to enable these currently:
#CONFIG_SECURE_BOOT=y
#CONFIG_BUILD_S1_VARIANT=y
#CONFIG_SPM_SERVICE_S0_ACTIVE=y

# nRFCloud FOTA
CONFIG_DOWNLOAD_CLIENT_LOG_LEVEL_WRN=y
CONFIG_DOWNLOAD_CLIENT_LOG_HEADERS=n
CONFIG_FOTA_DOWNLOAD_LOG_LEVEL_WRN=y
CONFIG_NRF_CLOUD_FOTA_LOG_LEVEL_INF=y

CONFIG_DOWNLOAD_CLIENT_STACK_SIZE=3072
CONFIG_NRF_CLOUD_FOTA_BLE_DEVICES=y
CONFIG_DOWNLOAD_CLIENT_HTTP_FRAG_SIZE_1024=y
CONFIG_GATEWAY_BLE_FOTA=n
CONFIG_DFU_TARGET_MCUBOOT_SAVE_PROGRESS=y

# Enable Bluetooth stack and libraries
CONFIG_BT=y
CONFIG_BT_H4=y
CONFIG_BT_WAIT_NOP=y
CONFIG_BT_CENTRAL=y
CONFIG_BT_GATT_CLIENT=y
CONFIG_BT_GATT_DM=y
CONFIG_BT_SCAN=y
CONFIG_BT_SCAN_FILTER_ENABLE=n
CONFIG_BT_SCAN_NAME_CNT=0
CONFIG_BT_MAX_CONN=16
CONFIG_BT_GATT_DM_MAX_ATTRS=100
CONFIG_BT_FILTER_ACCEPT_LIST=y
CONFIG_BT_SETTINGS=n
CONFIG_BT_EXT_ADV=n
CONFIG_BT_HCI_VS_EXT=n
CONFIG_BT_HCI_VS=n

CONFIG_BT_DEBUG_LOG=n
CONFIG_BT_DEBUG_CONN=n
CONFIG_BT_DEBUG_GATT=n
CONFIG_BT_DEBUG_HCI_CORE=n
CONFIG_BT_DEBUG_HCI_DRIVER=n
CONFIG_BT_LOG_LEVEL_WRN=y

CONFIG_BT_HCI_TX_STACK_SIZE=2048
CONFIG_BT_HCI_TX_STACK_SIZE_WITH_PROMPT=y
CONFIG_BT_RX_STACK_SIZE=2048

# UART_2/LPUART for use with nrf/samples/bluetooth/hci_lpuart on 52840
CONFIG_NRF_SW_LPUART=y
CONFIG_NRF_SW_LPUART_INT_DRIVEN=y
CONFIG_UART_2_ASYNC=y
CONFIG_UART_2_INTERRUPT_DRIVEN=n
CONFIG_UART_2_NRF_HW_ASYNC=y
CONFIG_UART_2_NRF_HW_ASYNC_TIMER=2

CONFIG_NRF_CLOUD_GATEWAY=y
CONFIG_FLASH_TEST=n

# for customer builds, set below to n
CONFIG_GATEWAY_DBG_CMDS=y

# to enable AT command handling unfettered by the shell, turn the below
# option on, and CONFIG_GATEWAY_SHELL off (ignore warnings about the symbols
# in the block below that, or comment them out)
CONFIG_AT_HOST_LIBRARY=n
CONFIG_GATEWAY_SHELL=y

# set various buffer sizes in shell
CONFIG_SHELL_STACK_SIZE=6144
CONFIG_SHELL_CMD_BUFF_SIZE=3072
CONFIG_SHELL_PRINTF_BUFF_SIZE=3072
CONFIG_SHELL_BACKEND_SERIAL_RX_RING_BUFFER_SIZE=3072
CONFIG_SHELL_PROMPT_UART="login: "
CONFIG_SHELL_START_OBSCURED=y
CONFIG_SHELL_PROMPT_SECURE="gateway:# "

# turn on for low level BLE commands
CONFIG_BT_SHELL=n

# force these off -- they default on
CONFIG_PWM_SHELL=n
CONFIG_BOOT_BANNER=n
CONFIG_FLASH_SHELL=n
CONFIG_DEVICE_SHELL=n
CONFIG_SHELL_WILDCARD=n
CONFIG_SHELL_CMDS_RESIZE=y
CONFIG_CLOCK_CONTROL_NRF_SHELL=n

CONFIG_DEBUG_COREDUMP=y
CONFIG_DEBUG_COREDUMP_BACKEND_LOGGING=y
CONFIG_DEBUG_COREDUMP_MEMORY_DUMP_MIN=y

# change logging level when at login prompt
CONFIG_STARTING_LOG_OVERRIDE=y
CONFIG_STARTING_LOG_LEVEL_WRN=y

CONFIG_ENTROPY_DEVICE_RANDOM_GENERATOR=y
CONFIG_NRF_CLOUD_HOST_NAME="mqtt.beta.nrfcloud.com"
```

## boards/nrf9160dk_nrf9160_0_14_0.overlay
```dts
/*
 * Copyright (c) 2021 Nordic Semiconductor ASA
 *
 * SPDX-License-Identifier: Apache-2.0
 */

#include <nrf9160/nrf9160dk_uart1_on_if0_3.dtsi>
#include <nrf9160/nrf9160dk_nrf9160_common_0_14_0.dtsi>
#include <nrf9160/nrf9160dk_nrf52840_reset_on_if9.dtsi>
```

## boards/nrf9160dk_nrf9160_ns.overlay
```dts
#include <nrf9160dk_nrf52840_reset_on_if5.dtsi>

/ {
	chosen {
		zephyr,bt-uart=&lpuart;
	};
};

&gpiote {
	interrupts = <49 NRF_DEFAULT_IRQ_PRIORITY>;
};

&uart2 {
	current-speed = <1000000>;
	status = "okay";
	/delete-property/ rts-pin;
	/delete-property/ cts-pin;
	/delete-property/ hw-flow-control;
       pinctrl-0 = <&uart2_default>;
       pinctrl-1 = <&uart2_sleep>;
       pinctrl-names = "default", "sleep";

	lpuart: nrf-sw-lpuart {
		compatible = "nordic,nrf-sw-lpuart";
		status = "okay";
		label = "LPUART";
		req-pin = <21>; /* <&interface_to_nrf52840 3 0>; */
		rdy-pin = <19>; /* <&interface_to_nrf52840 2 0>; */
	};
};


&pinctrl {
	uart2_default: uart2_default {
		group1 {
			psels = <NRF_PSEL(UART_TX, 0, 18)>,
				<NRF_PSEL(UART_RX, 0, 17)>;
		};
	};

	uart2_sleep: uart2_sleep {
		group1 {
			psels = <NRF_PSEL(UART_TX, 0, 18)>,
				<NRF_PSEL(UART_RX, 0, 17)>;
			low-power-enable;
		};
	};
};
```

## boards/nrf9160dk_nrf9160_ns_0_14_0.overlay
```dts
/* Use the reset line that is available starting from v0.14.0 of the DK. */
#include <nrf9160/nrf9160dk_nrf52840_reset_on_if9.dtsi>

 / {
	chosen {
		nordic,pm-ext-flash = &mx25r64;
	};
};

/* External flash device is disabled by default */
&mx25r64 {
	status = "disabled";
};

/* Enable high drive mode for the SPI3 pins to get a square signal at 8 MHz */
&spi3_default {
	group1 {
		nordic,drive-mode = <NRF_DRIVE_H0H1>;
	};
};
```

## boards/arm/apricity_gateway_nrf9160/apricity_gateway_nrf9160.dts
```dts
/*
 * Copyright (c) 2020 Nordic Semiconductor ASA
 *
 * SPDX-License-Identifier: LicenseRef-BSD-5-Clause-Nordic
 */

/dts-v1/;
#include <nordic/nrf9160_sica.dtsi>
#include "apricity_gateway_nrf9160_common.dts"

/ {
	chosen {
		zephyr,sram = &sram0;
		zephyr,flash = &flash0;
		zephyr,code-partition = &slot0_partition;
		zephyr,sram-secure-partition = &sram0_s;
		zephyr,sram-non-secure-partition = &sram0_ns;
	};
};
```

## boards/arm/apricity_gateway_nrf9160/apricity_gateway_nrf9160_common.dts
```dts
/*
 * Copyright (c) 2020 Nordic Semiconductor ASA
 *
 * SPDX-License-Identifier: LicenseRef-BSD-5-Clause-Nordic
 */

/ {
	model = "Apricity Gateway nRF9160";
	compatible = "apricity,apricity-gateway-nrf9160";

	chosen {
		zephyr,console = &uart0;
		zephyr,shell-uart = &uart0;
		zephyr,uart-mcumgr = &uart0;
	};

	buttons {
		compatible = "gpio-keys";

		button0: button_0 {
			gpios = <&gpio0 17 0>;
			label = "Button 1";
		};
	};

	leds {
		compatible = "gpio-leds";
		red_led: led_1 {
			gpios = <&gpio0 29 0>;
			label = "RGB red channel";
		};
		green_led: led_2 {
			gpios = <&gpio0 30 0>;
			label = "RGB green channel";
		};
		blue_led: led_3 {
			gpios = <&gpio0 31 0>;
			label = "RGB blue channel";
		};
		red_led_2: led_4 {
			gpios = <&gpio0 26 0>;
			label = "RGB red 2 channel";
		};
		green_led_2: led_5 {
			gpios = <&gpio0 27 0>;
			label = "RGB green 2 channel";
		};
		blue_led_2: led_6 {
			gpios = <&gpio0 28 0>;
			label = "RGB blue 2 channel";
		};
	};

	interface_to_nrf52840: gpio-interface {
		compatible = "nordic,nrf9160dk-nrf52840-interface";
		#gpio-cells = <2>;
		gpio-map-mask = <0xf 0>;
		gpio-map-pass-thru = <0 0xffffffff>;
		gpio-map = <0 0 &gpio0 18 0>,
			   <1 0 &gpio0 19 0>,
			   <2 0 &gpio0 20 0>,
			   <3 0 &gpio0 21 0>,
			   <4 0 &gpio0 22 0>,
			   <5 0 &gpio0 23 0>,
			   /* 6: COEX0 */
			   /* 7: COEX1 */
			   /* 8: COEX2 */
			   <9 0 &gpio0 13 0>,
			   <10 0 &gpio0 5 0>,
			   <11 0 &gpio0 9 0>;
	};

	nrf52840_reset: gpio-reset {
		compatible = "nordic,nrf9160dk-nrf52840-reset";
		status = "okay";
		/*
		 * This line is specified as active high for compatibility
		 * with the previously used Kconfig-based configuration.
		 */
		gpios = <&interface_to_nrf52840 9 GPIO_ACTIVE_HIGH>;
	};

	nrf52840_boot: gpio-boot {
		compatible = "nordic,nrf9160dk-nrf52840-boot";
		status = "okay";
		gpios = <&interface_to_nrf52840 10 GPIO_PULL_UP>;
	};

	ext_mem_ctrl: gpio-ext-mem-ctrl {
		compatible = "nordic,ext-mem-ctrl";
		status = "okay";
		gpios = <&interface_to_nrf52840 11 0>;
	};

	aliases {
		sw0 = &button0;
		led0 = &red_led;
		led1 = &green_led;
		led2 = &blue_led;
		led0-1 = &red_led_2;
		led1-1 = &green_led_2;
		led2-1 = &blue_led_2;
		rgb-pwm = &pwm0;
		rgb2-pwm = &pwm1;
	};
};

&adc {
	status = "okay";
};

&gpiote {
	status = "okay";
};

&gpio0 {
	status = "okay";
};

/* PWM0 is intended for RGB LED control */
&pwm0 {
	compatible = "nordic,nrf-pwm";
	status = "okay";
	pinctrl-0 = <&pwm0_default>;
	pinctrl-1 = <&pwm0_sleep>;
	pinctrl-names = "default", "sleep";
};

/* PWM1 is intended for RGB LED control */
&pwm1 {
	compatible = "nordic,nrf-pwm";
	status = "okay";
	pinctrl-0 = <&pwm1_default>;
	pinctrl-1 = <&pwm1_sleep>;
	pinctrl-names = "default", "sleep";
};

&spi3 {
	compatible = "nordic,nrf-spim";
	status = "okay";
	pinctrl-0 = <&spi3_default_alt>;
	pinctrl-1 = <&spi3_sleep_alt>;
	pinctrl-names = "default", "sleep";
	cs-gpios = <&gpio0 8 1>;
	w25q64jv: w25q64jv@0 {
		status = "okay";
		compatible = "jedec,spi-nor";
		reg = <0>;
		spi-max-frequency = <80000000>;
		jedec-id = [ef 40 17];
		size = <67108864>;
	};
};

&pinctrl {
	spi3_default_alt: spi3_default_alt {
		group1 {
			psels = <NRF_PSEL(SPIM_SCK, 0, 14)>,
				<NRF_PSEL(SPIM_MOSI, 0, 11)>,
				<NRF_PSEL(SPIM_MISO, 0, 12)>;
			nordic,drive-mode = <NRF_DRIVE_H0H1>;
		};
	};

	spi3_sleep_alt: spi3_sleep_alt {
		group1 {
			psels = <NRF_PSEL(SPIM_SCK, 0, 14)>,
				<NRF_PSEL(SPIM_MOSI, 0, 11)>,
				<NRF_PSEL(SPIM_MISO, 0, 12)>;
			low-power-enable;
		};
	};

	pwm0_default: pwm0_default {
		group1 {
			psels = <NRF_PSEL(PWM_OUT0, 0, 29)>,
				<NRF_PSEL(PWM_OUT1, 0, 30)>,
				<NRF_PSEL(PWM_OUT2, 0, 31)>;
			nordic,invert;
		};
	};

	pwm0_sleep: pwm0_sleep {
		group1 {
			psels = <NRF_PSEL(PWM_OUT0, 0, 29)>,
				<NRF_PSEL(PWM_OUT1, 0, 30)>,
				<NRF_PSEL(PWM_OUT2, 0, 31)>;
			low-power-enable;
			nordic,invert;
		};
	};

	pwm1_default: pwm1_default {
		group1 {
			psels = <NRF_PSEL(PWM_OUT0, 0, 26)>,
				<NRF_PSEL(PWM_OUT1, 0, 27)>,
				<NRF_PSEL(PWM_OUT2, 0, 28)>;
			nordic,invert;
		};
	};

	pwm1_sleep: pwm1_sleep {
		group1 {
			psels = <NRF_PSEL(PWM_OUT0, 0, 26)>,
				<NRF_PSEL(PWM_OUT1, 0, 27)>,
				<NRF_PSEL(PWM_OUT2, 0, 28)>;
			low-power-enable;
			nordic,invert;
		};
	};

	uart0_default: uart0_default {
		group1 {
			psels = <NRF_PSEL(UART_TX, 0, 18)>,
				<NRF_PSEL(UART_RX, 0, 19)>,
				<NRF_PSEL(UART_RTS, 0, 20)>,
				<NRF_PSEL(UART_CTS, 0, 21)>;
		};
	};

	uart0_sleep: uart0_sleep {
		group1 {
			psels = <NRF_PSEL(UART_TX, 0, 18)>,
				<NRF_PSEL(UART_RX, 0, 19)>,
				<NRF_PSEL(UART_RTS, 0, 20)>,
				<NRF_PSEL(UART_CTS, 0, 21)>;
			low-power-enable;
		};
	};

	uart1_default: uart1_default {
		group1 {
			psels = <NRF_PSEL(UART_TX, 0, 23)>,
				<NRF_PSEL(UART_RX, 0, 22)>,
				<NRF_PSEL(UART_RTS, 0, 25)>,
				<NRF_PSEL(UART_CTS, 0, 24)>;
		};
	};

	uart1_sleep: uart1_sleep {
		group1 {
			psels = <NRF_PSEL(UART_TX, 0, 23)>,
				<NRF_PSEL(UART_RX, 0, 22)>,
				<NRF_PSEL(UART_RTS, 0, 25)>,
				<NRF_PSEL(UART_CTS, 0, 24)>;
			low-power-enable;
		};
	};
};

&uart0 {
	compatible = "nordic,nrf-uarte";
	current-speed = <115200>;
	status = "okay";
	pinctrl-0 = <&uart0_default>;
	pinctrl-1 = <&uart0_sleep>;
	pinctrl-names = "default", "sleep";
};

&uart1 {
	compatible = "nordic,nrf-uarte";
	current-speed = <1000000>;
	status = "okay";
	hw-flow-control;
	pinctrl-0 = <&uart1_default>;
	pinctrl-1 = <&uart1_sleep>;
	pinctrl-names = "default", "sleep";
};

&flash0 {
	/*
	 * For more information, see:
	 * http://docs.zephyrproject.org/devices/dts/flash_partitions.html
	 */
	partitions {
		compatible = "fixed-partitions";
		#address-cells = <1>;
		#size-cells = <1>;

		boot_partition: partition@0 {
			label = "mcuboot";
			reg = <0x00000000 0x10000>;
		};
		slot0_partition: partition@10000 {
			label = "image-0";
		};
		slot0_ns_partition: partition@50000 {
			label = "image-0-nonsecure";
		};
		slot1_partition: partition@80000 {
			label = "image-1";
		};
		slot1_ns_partition: partition@c0000 {
			label = "image-1-nonsecure";
		};
		/* 0xf0000 to 0xf7fff reserved for TF-M partitions */
		storage_partition: partition@f8000 {
			label = "storage";
			reg = <0x000f8000 0x00008000>;
		};
	};
};

/ {

	reserved-memory {
		#address-cells = <1>;
		#size-cells = <1>;
		ranges;

		sram0_s: image_s@20000000 {
			/* Secure image memory */
		};

		sram0_modem: image_modem@20016000 {
			/* Modem (shared) memory */
		};

		sram0_ns: image_ns@20020000 {
			/* Non-Secure image memory */
		};
	};
};

/* Include partition configuration file */
#include "apricity_gateway_nrf9160_partition_conf.dts"
```

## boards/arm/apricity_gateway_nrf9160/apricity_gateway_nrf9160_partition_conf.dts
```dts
/*
 * Copyright (c) 2020 Nordic Semiconductor ASA
 *
 * SPDX-License-Identifier: LicenseRef-BSD-5-Clause-Nordic
 */

/*
 * Default Flash planning for apricity_gateway_nrf9160.
 *
 * Zephyr build for nRF9160 with ARM TrustZone-M support,
 * implies building Secure and Non-Secure Zephyr images.
 *
 * Secure image will be placed, by default, in flash0
 * (or in slot0, if MCUboot is present).
 * Secure image will use sram0 for system memory.
 *
 * Non-Secure image will be placed in slot0_ns, and use
 * sram0_ns for system memory.
 *
 * Note that the Secure image only requires knowledge of
 * the beginning of the Non-Secure image (not its size).
 */

&slot0_partition {
	reg = <0x00010000 0x40000>;
};

&slot0_ns_partition {
	reg = <0x00050000 0x30000>;
};

&slot1_partition {
	reg = <0x00080000 0x40000>;
};

&slot1_ns_partition {
	reg = <0x000c0000 0x30000>;
};

/* Default SRAM planning when building for nRF9160 with
 * ARM TrustZone-M support
 * - Lowest 88 kB SRAM allocated to Secure image (sram0_s).
 * - 40 kB SRAM reserved for and used by the modem library
 *   library.
 * - Upper 128 kB allocated to Non-Secure image (sram0_ns).
 *   When building with TF-M, both sram0_modem and sram0_ns
 *   are allocated to the Non-Secure image.
 */

&sram0_s {
	reg = <0x20000000 DT_SIZE_K(88)>;
};

&sram0_modem {
	reg = <0x20016000 DT_SIZE_K(40)>;
};

&sram0_ns {
	reg = <0x20020000 DT_SIZE_K(128)>;
};
```

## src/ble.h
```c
/*
 * Copyright (c) 2018 Nordic Semiconductor ASA
 *
 * SPDX-License-Identifier: LicenseRef-BSD-5-Clause-Nordic
 */

#ifndef _BLE_H_
#define _BLE_H_

#include <zephyr/bluetooth/uuid.h>
#include <zephyr/bluetooth/gatt.h>

#define MAX_SCAN_RESULTS 10
#define BT_ADDR_LE_DEVICE_LEN 17
#define BT_ADDR_LE_DEVICE_LEN_SHIFT BT_ADDR_LE_DEVICE_LEN+2
#define BT_ADDR_LE_TYPE_LEN 6

#define BT_ATTR_SERVICE 0
#define BT_ATTR_CHRC 1
#define BT_ATTR_CCC 3

#define NAME_LEN 30
#define UUID_STR_LEN 37
#define BT_MAX_SUBSCRIBES 25

struct ble_scanned_dev {
	int rssi;
	char type[7];
	char name[NAME_LEN];
	char addr[18];
};

struct ble_device_conn;
struct desired_conn;

typedef int (*notification_cb_t)(const char *ble_addr, const char *chrc_uuid,
				  uint8_t *data, uint16_t len);

int ble_init(void);
int ble_add_to_allowlist(char *addr_str, bool add);
void scan_start(bool print_scan);
void ble_register_notify_callback(notification_cb_t callback);
int ble_subscribe(char *ble_addr, char *chrc_uuid, uint8_t value_type);
int ble_subscribe_handle(char *ble_addr, uint16_t handle, uint8_t value_type);
int ble_subscribe_all(char *ble_addr, uint8_t value_type);
int gatt_read(char *ble_addr, char *chrc_uuid, bool ccc);
int gatt_write(const char *ble_addr, const char *chrc_uuid, uint8_t *data,
	       uint16_t data_len, bt_gatt_write_func_t cb);
int gatt_write_without_response(char *ble_addr, char *chrc_uuid, uint8_t *data,
				uint16_t data_len);
int ble_discover(struct ble_device_conn *conn_ptr);
void bt_uuid_get_str(const struct bt_uuid *uuid, char *str, size_t len);
void bt_to_upper(char *addr, uint8_t addr_len);
int disconnect_device_by_addr(char *ble_addr);
void ble_clear_discover_inprogress();
int device_discovery_send(struct ble_device_conn *conn_ptr);
struct ble_scanned_dev *get_scanned_device(unsigned int i);
int get_num_scan_results(void);
int get_num_scan_names(void);
void ble_stop_activity(void);
int set_shadow_desired_conn(struct desired_conn *desired, int num_desired);
int set_shadow_reported_conn(void);
int set_shadow_ble_conn(char *ble_address, bool connecting, bool connected);
int set_shadow_modem(void *modem);

#endif /* _BLE_H_ */
```

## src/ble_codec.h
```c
#ifndef BLE_CODEC_H_
#define BLE_CODEC_H_

#include "cJSON.h"
#include "ble_conn_mgr.h"

struct gw_msg {
	struct k_mutex lock;
	int data_max_len;
	struct nrf_cloud_data data;
};

int device_found_encode(uint8_t num_devices_found, struct gw_msg *msg);
int device_connect_result_encode(char *ble_address, bool conn_status,
				 struct gw_msg *msg);
int device_value_changed_encode(char *ble_address, char *uuid, char *path,
				char *value, uint16_t value_length,
				struct gw_msg *msg);
int device_chrc_read_encode(char *ble_address, char *uuid, char *path,
			    char *value, uint16_t value_length,
			    struct gw_msg *msg);
int device_discovery_add_attr(char *discovered_json, bool last_attr,
			      struct gw_msg *msg);
int device_discovery_encode(struct ble_device_conn *conn_ptr,
			    struct gw_msg *msg);
int device_value_write_result_encode(char *ble_address, char *uuid, char *path,
				     char *value, uint16_t value_length,
				     struct gw_msg *msg);
int device_descriptor_value_encode(char *ble_address, char *uuid,
				   char *path, char *value,
				   uint16_t value_length,
				   struct gw_msg *msg, bool changed);
int device_error_encode(char *ble_address, char *error_msg,
			struct gw_msg *msg);
int device_disconnect_result_encode(char *ble_address, bool conn_status,
				    struct gw_msg *msg);
int gateway_shadow_data_encode(void *modem_ptr, struct gw_msg *msg);
int device_shadow_data_encode(char *ble_address, bool connecting,
			      bool connected, struct gw_msg *msg);
int gateway_desired_list_encode(struct desired_conn *desired,int num_desired,
				struct gw_msg *msg);
int gateway_reported_encode(struct gw_msg *msg);
void get_uuid_str(struct uuid_handle_pair *uuid_handle, char *str, size_t len);
char *get_time_str(char *dst, size_t len);
void ble_codec_init(void);

#endif
```

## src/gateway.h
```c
#ifndef GATEWAY_CLOUD_TRANSPORT__
#define GATEWAY_CLOUD_TRANSPORT__

#define NRF_CLOUD_CLIENT_ID_LEN  128
extern char gateway_id[NRF_CLOUD_CLIENT_ID_LEN+1];

struct cloud_msg;

void device_shutdown(bool reboot);
void control_cloud_connection(bool enable);
void cli_init(void);
bool get_lte_connection_status(void);
bool get_cloud_connection_status(void);
bool get_cloud_ready_status(void);
void init_gateway(void);
int gw_client_id_query(void);
int g2c_send(const struct nrf_cloud_data *output);
int gw_shadow_publish(const struct nrf_cloud_data *output);

int gw_psk_id_get(char **id, size_t *id_len);
int gateway_handler(const struct nrf_cloud_data *data);

#if defined(CONFIG_ENTER_52840_MCUBOOT_VIA_BUTTON)
/* functions defined in the board's .c file */
int nrf52840_reset_to_mcuboot(void);
int nrf52840_wait_boot_complete(int timeout_ms);
#endif

#endif
```
